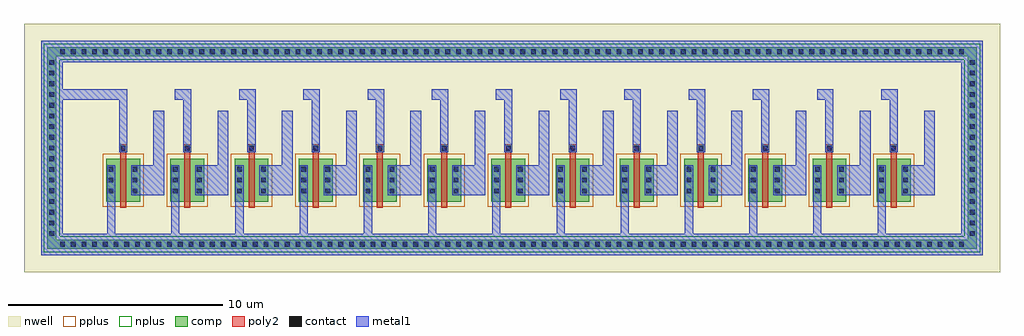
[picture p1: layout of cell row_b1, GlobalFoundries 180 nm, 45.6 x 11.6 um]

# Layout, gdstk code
import gdstk
lib = gdstk.Library(unit=1e-6, precision=1e-09)
def R(c, l, rs):  # rectangles x0, y0, x1, y1
    for r in rs: c.add(gdstk.rectangle(r[:2], r[2:], *l))
def A(c, l, x, y, w, h, nx, ny, dx, dy):  # array of equal rectangles
    R(c, l, [(x+i*dx, y+j*dy, x+i*dx+w, y+j*dy+h) for i in range(nx) for j in range(ny)])
nwell = (21, 0)
comp = (22, 0)
poly2 = (30, 0)
pplus = (31, 0)
nplus = (32, 0)
contact = (33, 0)
metal1 = (34, 0)

pfet__1 = lib.new_cell('pfet__1')
R(pfet__1, nwell, [(-0.9,-0.44,1.56,2.44)])
R(pfet__1, comp, [(-0.46,0,0,2), (0,0,0.66,2), (0.66,0,1.12,2)])
R(pfet__1, poly2, [(0.19,-0.3,0.47,2.3), (0.14,2.3,0.52,2.68)])
R(pfet__1, pplus, [(-0.63,-0.24,1.29,2.24)])
A(pfet__1, contact, -0.34, 0.38, 0.22, 0.22, 1, 3, 0, 0.51)
A(pfet__1, contact, 0.78, 0.38, 0.22, 0.22, 1, 3, 0, 0.51)
R(pfet__1, contact, [(0.22,2.38,0.44,2.6)])
R(pfet__1, metal1, [(-0.42,0.3,-0.04,1.7), (0.7,0.3,1.08,1.7), (0.14,2.295,0.52,2.685)])

row_b1 = lib.new_cell('row_b1')
R(row_b1, nwell, [(-4.3,-3.3,41.3,8.3)])
R(row_b1, comp, [(-3.21,-2.21,-2.79,7.21), (-2.79,-2.21,39.79,-1.79), (39.79,-2.21,40.21,7.21), (-2.79,6.79,39.79,7.21)])
R(row_b1, nplus, [(-3.37,-2.37,40.37,-1.63), (-3.37,-2.37,-2.63,7.37), (39.63,-2.37,40.37,7.37), (-3.37,6.63,40.37,7.37)])
A(row_b1, contact, -2.61, -2.11, 0.22, 0.22, 85, 2, 0.5, 9)
A(row_b1, contact, -3.11, -1.61, 0.22, 0.22, 1, 17, 0, 0.5)
A(row_b1, contact, 39.89, -1.61, 0.22, 0.22, 1, 17, 0, 0.5)
A(row_b1, metal1, -0.42, -2, 0.38, 2.32, 13, 1, 3, 0)
A(row_b1, metal1, -0.42, 0.3, 0.38, 1.4, 13, 1, 3, 0)
A(row_b1, metal1, 0.7, 0.3, 1.55, 1.4, 13, 1, 3, 0)
A(row_b1, metal1, 1.75, 0.3, 0.5, 3.95, 13, 1, 3, 0)
A(row_b1, metal1, 0.14, 2.665, 0.38, 2.585, 13, 1, 3, 0)
A(row_b1, metal1, -0.25, 4.75, 0.77, 0.5, 13, 1, 3, 0)
R(row_b1, metal1, [(-3.5,-2.5,-2.5,7.5), (-2.5,-2.5,39.5,-1.5), (39.5,-2.5,40.5,7.5), (-3,4.75,0.25,5.25), (-2.5,6.5,39.5,7.5)])
row_b1.add(gdstk.Reference(pfet__1, (0,0)))
row_b1.add(gdstk.Reference(pfet__1, (3,0)))
row_b1.add(gdstk.Reference(pfet__1, (6,0)))
row_b1.add(gdstk.Reference(pfet__1, (9,0)))
row_b1.add(gdstk.Reference(pfet__1, (12,0)))
row_b1.add(gdstk.Reference(pfet__1, (15,0)))
row_b1.add(gdstk.Reference(pfet__1, (18,0)))
row_b1.add(gdstk.Reference(pfet__1, (21,0)))
row_b1.add(gdstk.Reference(pfet__1, (24,0)))
row_b1.add(gdstk.Reference(pfet__1, (27,0)))
row_b1.add(gdstk.Reference(pfet__1, (30,0)))
row_b1.add(gdstk.Reference(pfet__1, (33,0)))
row_b1.add(gdstk.Reference(pfet__1, (36,0)))

lib.write_gds('row_b1.gds')
